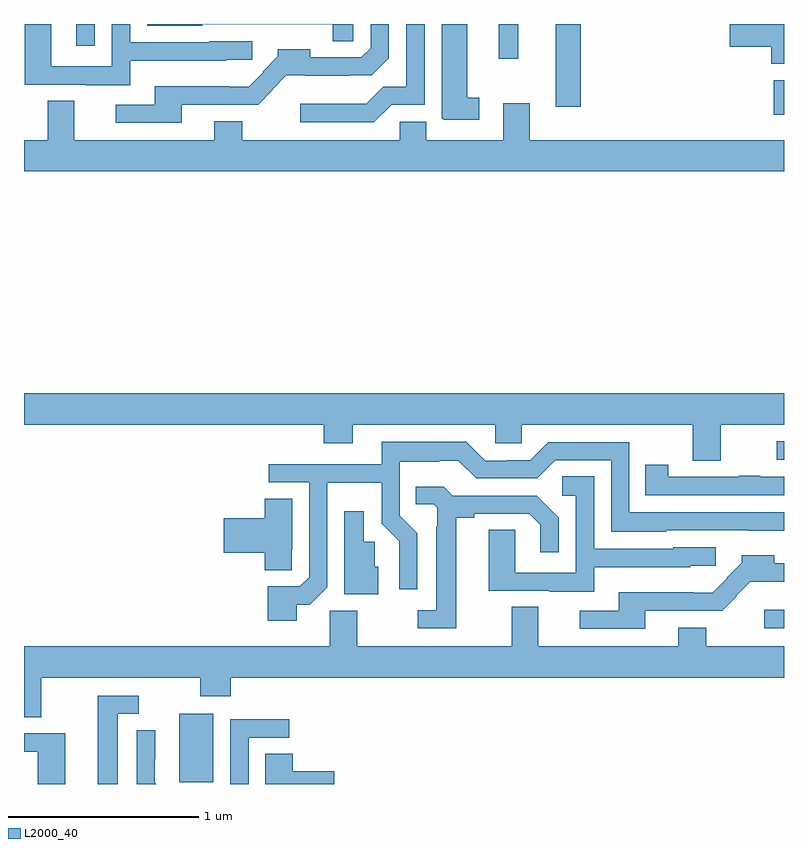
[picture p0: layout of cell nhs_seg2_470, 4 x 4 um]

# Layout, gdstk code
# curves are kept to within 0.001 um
import gdstk
lib = gdstk.Library(unit=1e-6, precision=1e-09)
def R(c, l, rs):  # rectangles x0, y0, x1, y1
    for r in rs: c.add(gdstk.rectangle(r[:2], r[2:], *l))
def P(c, l, *ps):  # polygons
    for p in ps: c.add(gdstk.Polygon(p, *l))
L2000_40 = (2000, 40)

nhs_seg2_470 = lib.new_cell('nhs_seg2_470')
R(nhs_seg2_470, L2000_40, [(135.818,589.809,135.997,590.17), (138.897,590.619,139,590.716), (138.963,591.507,139,591.603), (138.947,593.322,139,593.505), (137.798,593.364,137.93,593.8), (137.498,593.616,137.602,593.8), (135.275,593.685,135.372,593.8)])
P(nhs_seg2_470, L2000_40, [(135.829,593.376),(136.233,593.376),(136.309,593.453),(136.307,593.455),(136.381,593.529),(136.715,593.528),(136.715,593.53),(136.831,593.53),(136.92,593.619),(136.92,593.8),(136.824,593.8),(136.824,593.673),(136.776,593.625),(136.507,593.625),(136.507,593.668),(136.336,593.668),(136.336,593.629),(136.257,593.55),(136.26,593.547),(136.184,593.471),(136.082,593.471),(136.082,593.473),(135.689,593.473),(135.689,593.376),(135.483,593.376),(135.483,593.28),(135.829,593.28)],
  [(136.935,593.376),(137.109,593.376),(137.109,593.8),(137.013,593.8),(137.013,593.471),(136.892,593.471),(136.801,593.38),(136.455,593.38),(136.455,593.283),(136.842,593.283)],
  [(136.734,593.8),(135.648,593.8),(135.648,593.792),(135.939,593.792),(135.939,593.799),(136.371,593.799),(136.371,593.798),(136.626,593.798),(136.626,593.71),(136.734,593.71)],
  [(139,593.8),(138.714,593.8),(138.714,593.681),(138.932,593.681),(138.932,593.59),(139,593.59)],
  [(135.559,593.606),(136.065,593.606),(136.065,593.613),(136.2,593.613),(136.2,593.709),(135.975,593.709),(135.975,593.703),(135.558,593.703),(135.558,593.8),(135.462,593.8),(135.462,593.577),(135.144,593.577),(135.144,593.8),(135.005,593.8),(135.005,593.481),(135.323,593.481),(135.323,593.477),(135.559,593.477)],
  [(137.395,593.411),(137.332,593.411),(137.332,593.8),(137.198,593.8),(137.198,593.305),(137.208,593.295),(137.395,593.295)],
  [(139,593.188),(137.662,593.188),(137.662,593.383),(137.522,593.383),(137.522,593.188),(137.116,593.188),(137.116,593.286),(136.977,593.286),(136.977,593.188),(136.149,593.188),(136.149,593.287),(136.001,593.287),(136.001,593.188),(135.265,593.188),(135.265,593.396),(135.125,593.396),(135.125,593.188),(135,593.188),(135,593.024),(139,593.024)],
  [(138.667,591.692),(139,591.692),(139,591.856),(135,591.856),(135,591.692),(136.577,591.692),(136.577,591.593),(136.729,591.593),(136.729,591.692),(137.481,591.692),(137.481,591.594),(137.619,591.594),(137.619,591.692),(138.52,591.692),(138.52,591.502),(138.667,591.502)],
  [(136.435,590.743),(136.503,590.743),(136.596,590.835),(136.596,591.386),(136.884,591.386),(136.884,591.17),(136.976,591.078),(136.976,590.826),(137.07,590.826),(137.07,591.12),(136.977,591.213),(136.977,591.497),(137.186,591.497),(137.186,591.501),(137.286,591.501),(137.379,591.408),(137.7,591.408),(137.796,591.504),(138.09,591.504),(138.09,591.128),(138.381,591.128),(138.381,591.135),(139,591.134),(139,591.231),(138.186,591.231),(138.186,591.6),(137.76,591.6),(137.664,591.504),(137.544,591.504),(137.544,591.501),(137.427,591.501),(137.327,591.601),(136.883,591.601),(136.883,591.483),(136.287,591.483),(136.287,591.387),(136.5,591.387),(136.5,590.889),(136.452,590.841),(136.283,590.841),(136.283,590.658),(136.435,590.658)],
  [(139,591.417),(138.875,591.417),(138.875,591.422),(138.763,591.422),(138.763,591.417),(138.39,591.417),(138.39,591.481),(138.271,591.481),(138.271,591.321),(139,591.321)],
  [(138.001,590.942),(138.507,590.942),(138.507,590.949),(138.642,590.949),(138.642,591.045),(138.417,591.045),(138.417,591.039),(138,591.039),(138,591.419),(137.832,591.419),(137.832,591.318),(137.904,591.318),(137.904,590.913),(137.586,590.913),(137.586,591.137),(137.447,591.137),(137.447,590.817),(137.765,590.817),(137.765,590.813),(138.001,590.813)],
  [(137.275,591.202),(137.371,591.202),(137.371,591.222),(137.66,591.222),(137.717,591.165),(137.717,591.021),(137.814,591.021),(137.814,591.202),(137.698,591.318),(137.256,591.318),(137.208,591.365),(137.062,591.365),(137.062,591.273),(137.157,591.273),(137.175,591.255),(137.175,591.155),(137.171,591.155),(137.171,590.715),(137.073,590.715),(137.073,590.619),(137.275,590.619)],
  [(136.41,591.034),(136.411,591.034),(136.411,591.302),(136.268,591.302),(136.268,591.2),(136.05,591.2),(136.05,591.017),(136.268,591.017),(136.268,590.926),(136.41,590.926)],
  [(136.864,590.943),(136.845,590.943),(136.845,591.075),(136.789,591.075),(136.789,591.235),(136.685,591.235),(136.685,590.798),(136.864,590.798)],
  [(138.271,590.712),(138.675,590.712),(138.751,590.789),(138.749,590.791),(138.823,590.865),(139,590.864),(139,590.961),(138.949,590.961),(138.949,591.004),(138.778,591.004),(138.778,590.965),(138.699,590.886),(138.702,590.883),(138.626,590.807),(138.524,590.807),(138.524,590.809),(138.131,590.809),(138.131,590.712),(137.925,590.712),(137.925,590.616),(138.271,590.616)],
  [(135.091,590.36),(135.928,590.36),(135.928,590.261),(136.088,590.261),(136.088,590.36),(139,590.36),(139,590.524),(138.591,590.524),(138.591,590.623),(138.443,590.623),(138.443,590.524),(137.707,590.524),(137.707,590.732),(137.567,590.732),(137.567,590.524),(136.755,590.524),(136.755,590.713),(136.608,590.713),(136.608,590.524),(135,590.524),(135,590.152),(135.091,590.152)],
  [(135.493,590.169),(135.604,590.169),(135.604,590.265),(135.389,590.265),(135.389,589.8),(135.493,589.8)],
  [(136.182,590.043),(136.396,590.043),(136.396,590.142),(136.086,590.142),(136.086,589.8),(136.182,589.8)],
  [(135.689,589.808),(135.689,589.93),(135.69,589.93),(135.69,590.084),(135.594,590.084),(135.594,589.8),(135.697,589.8)],
  [(135.217,590.067),(135,590.067),(135,589.971),(135.072,589.971),(135.072,589.8),(135.217,589.8)],
  [(136.633,589.868),(136.415,589.868),(136.415,589.958),(136.271,589.958),(136.271,589.8),(136.633,589.8)])

lib.write_gds('nhs_seg2_470.gds')
